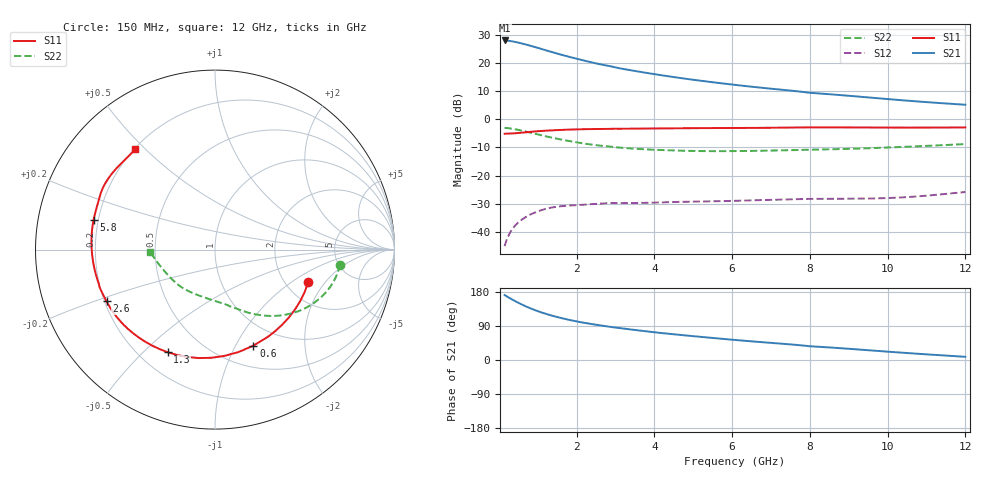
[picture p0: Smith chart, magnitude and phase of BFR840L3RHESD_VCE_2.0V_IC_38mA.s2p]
! Infineon Technologies  Discrete & RF Semiconductors
! BFR840L3RHESD
! VCE =  2.0 V,  IC =  38 mA
! Common Emitter S-Parameters:  Jun 2012
# GHz  S  MA  R  50
!  f  S11  S21  S12  S22
! GHz  MAG  ANG  MAG  ANG  MAG  ANG  MAG  ANG
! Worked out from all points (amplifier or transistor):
!   91 points, 150 MHz to 12 GHz, reference 50 ohm
!   highest |S21| = 27.9 dB at 150 MHz (marker M1)
!   |S21| within 3 dB of that: start of sweep to 1.093 GHz
!   unconditionally stable (mu >= 1): start of sweep to 241.2 MHz; 3.644 GHz to end of sweep
!   at 1.3 GHz: K = 0.51, MSG = 27.8 dB, |S12| = -31.5 dB
!   at 4.3 GHz: K = 1.15, MAG = 20.1 dB, |S12| = -29.5 dB
!   at 12 GHz: K = 2.44, MAG = 8.8 dB, |S12| = -25.8 dB
!   S11 on the Smith chart (normalised r, x): 150 MHz: 2.63, -1.38; 600 MHz: 0.74, -1.18; 1.3 GHz: 0.31, -0.59; 2.6 GHz: 0.21, -0.22; 5.8 GHz: 0.18, +0.12; 12 GHz: 0.21, +0.47
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0.15  0.5502 -19.4  24.84 171.3  0.0056 56.5  0.7012 -6.9
0.25  0.5549 -31.4  24.51 165.2  0.0086 59.4  0.6908 -12.7
0.4  0.5617 -48.3  23.55 156.6  0.0125 59.6  0.6659 -20.2
0.5  0.5682 -58.7  22.76 151.2  0.0147 58.2  0.6456 -24.7
0.6  0.5764 -68.2  21.9 146.1  0.0167 56.0  0.6238 -28.9
0.7  0.5854 -76.9  21.02 141.3  0.0185 53.5  0.6016 -32.7
0.9  0.6031 -91.9  19.24 132.8  0.0217 48.1  0.5578 -39.4
1.1  0.6179 -104.4  17.53 125.4  0.0244 43.3  0.5173 -45.2
1.3  0.6297 -114.8  15.96 119.1  0.0266 39.6  0.4812 -50.2
1.5  0.6395 -123.5  14.56 113.5  0.0281 36.8  0.4497 -54.5
1.7  0.6482 -131.0  13.34 108.5  0.029 34.8  0.4225 -58.4
1.9  0.6557 -137.5  12.28 104.0  0.0297 33.0  0.399 -61.9
2.2  0.6639 -145.6  10.91 98.1  0.0305 30.4  0.3693 -66.5
2.6  0.6696 -154.5  9.424 91.6  0.0318 28.1  0.3399 -72.1
3  0.6764 -162.0  8.282 85.5  0.0326 28.4  0.3182 -77.0
3.3  0.6769 -166.7  7.556 81.8  0.0325 27.1  0.3054 -80.9
4.2  0.6854 -178.1  5.982 71.0  0.0334 27.7  0.2831 -92.1
5.8  0.6964 166.2  4.266 55.4  0.0353 29.4  0.271 -112.4
6.1  0.6976 163.7  4.037 52.7  0.0357 29.9  0.2717 -116.2
8.5  0.7145 146.2  2.769 33.2  0.0387 34.1  0.2918 -146.2
10.5  0.7087 134.8  2.128 18.4  0.0414 43.5  0.3246 -165.9
12  0.7132 128.4  1.801 8.4  0.0511 48.1  0.3614 -178.0
